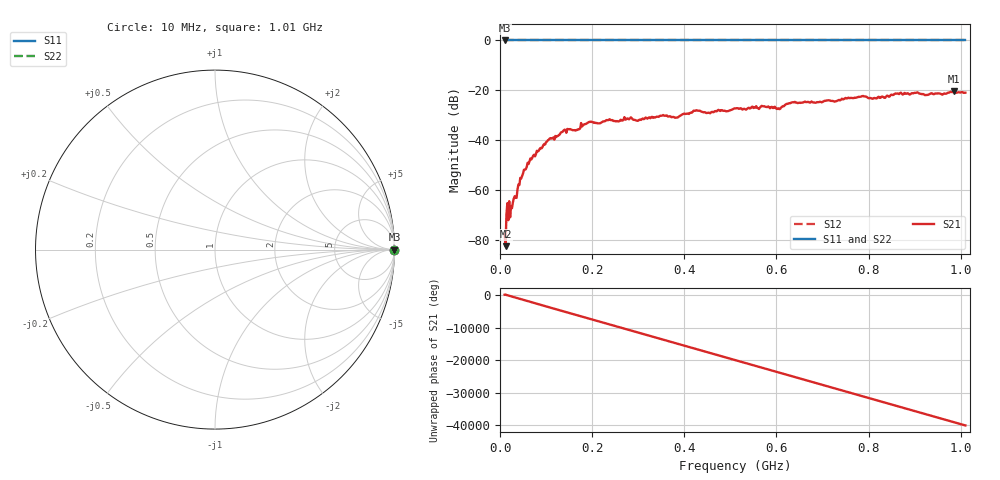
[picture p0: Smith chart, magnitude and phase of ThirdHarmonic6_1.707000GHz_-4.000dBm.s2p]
! 8/16/2025 8:31:23 PM
! C:\ANRITSUVNA\TEMP\TEMP.S2P
! CHANNEL.1
! TR.MEASUREMENT
! RAW.DATA
! RF.CORRECTION.OFF
! AVERAGING.OFF
! IF.BANDWIDTH: 5KHZ
! SWEEPTYPE:  FREQ.SWEEP(Linear)
! Reference Plane Port Info
! PORT:  PORT1  PORT2
! DISTANCE:  0  m  0  m
! TIME:  0  s  0  s
! PHASE.OFFSET:  0  deg.  0  deg.
! LOSS:  0  dB  0  dB
! REF.LOSS:  0  dB  0  dB
! REF.FREQ:  0  Hz  0  Hz
! Power Info
! POWER:  -20  dBm  -20  dBm
! EFF.POWER:  -20  dBm  -20  dBm
! SOURCE.ATTEN:  0  dB  0  dB
! TEST.ATTEN:  0  dB  0  dB
# GHZ S RI R 50.0
! FREQ.GHZ  S11RE  S11IM  S21RE  S21IM  S12RE  S12IM  S22RE  S22IM
!; PortSelection: Port_12
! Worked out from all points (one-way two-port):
!   501 points, 10 MHz to 1.01 GHz, reference 50 ohm
!   highest |S21| = -20.43 dB at 986 MHz (marker M1); lowest = -82.4 dB at 12 MHz (marker M2)
!   lowest |S11| = 0.0 dB at 10 MHz (marker M3)
!   |S11| at or under -10 dB: nowhere
!   |S22| runs from 0.0 to 0.0 dB; largest |S21 - S12| = 1.1
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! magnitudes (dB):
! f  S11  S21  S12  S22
! 10 MHz  0.0  -77.6  0.0  0.0
! 12 MHz  0.0  -82.4  0.0  0.0
! 18 MHz  0.0  -72.0  0.0  0.0
! 26 MHz  0.0  -67.2  0.0  0.0
! 48 MHz  0.0  -54.3  0.0  0.0
! 70 MHz  0.0  -47.0  0.0  0.0
! 106 MHz  0.0  -39.7  0.0  0.0
! 138 MHz  0.0  -36.1  0.0  0.0
! 168 MHz  0.0  -35.8  0.0  0.0
! 178 MHz  0.0  -34.4  0.0  0.0
! 196 MHz  0.0  -32.6  0.0  0.0
! 344 MHz  0.0  -30.6  0.0  0.0
! 382 MHz  0.0  -30.9  0.0  0.0
! 424 MHz  0.0  -28.2  0.0  0.0
! 452 MHz  0.0  -28.9  0.0  0.0
! 510 MHz  0.0  -27.2  0.0  0.0
! 604 MHz  0.0  -27.2  0.0  0.0
! 636 MHz  0.0  -24.7  0.0  0.0
! 678 MHz  0.0  -24.7  0.0  0.0
! 844 MHz  0.0  -22.6  0.0  0.0
! 986 MHz  0.0  -20.4  0.0  0.0
! 1.01 GHz  0.0  -20.9  0.0  0.0
